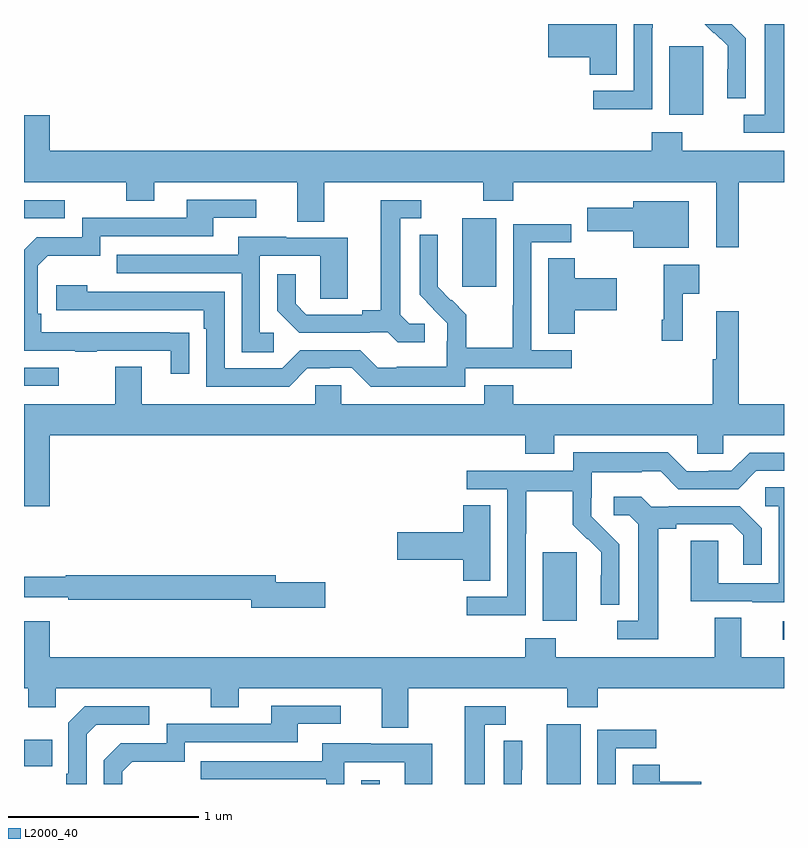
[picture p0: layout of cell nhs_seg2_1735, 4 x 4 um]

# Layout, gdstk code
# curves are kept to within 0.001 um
import gdstk
lib = gdstk.Library(unit=1e-6, precision=1e-09)
def R(c, l, rs):  # rectangles x0, y0, x1, y1
    for r in rs: c.add(gdstk.rectangle(r[:2], r[2:], *l))
def P(c, l, *ps):  # polygons
    for p in ps: c.add(gdstk.Polygon(p, *l))
L2000_40 = (2000, 40)

nhs_seg2_1735 = lib.new_cell('nhs_seg2_1735')
R(nhs_seg2_1735, L2000_40, [(202.776,645.8,202.873,645.82), (203.75,645.8,203.929,646.114), (201,645.893,201.149,646.033), (204.993,646.56,205,646.656), (203.729,646.658,203.908,647.019), (201,647.895,201.184,647.991), (203.306,648.417,203.485,648.778), (201,648.777,201.214,648.873), (204.395,649.322,204.574,649.683)])
P(nhs_seg2_1735, L2000_40, [(204.798,649.726),(204.725,649.799),(204.726,649.8),(204.582,649.8),(204.63,649.752),(204.633,649.755),(204.704,649.685),(204.704,649.562),(204.702,649.562),(204.702,649.408),(204.798,649.408)],
  [(204.306,649.78),(204.309,649.78),(204.309,649.8),(204.21,649.8),(204.21,649.449),(203.997,649.449),(203.997,649.351),(204.306,649.351)],
  [(204.121,649.8),(203.76,649.8),(203.76,649.625),(203.978,649.625),(203.978,649.534),(204.121,649.534)],
  [(205,649.8),(204.899,649.8),(204.899,649.323),(204.789,649.323),(204.789,649.227),(205,649.227)],
  [(204.761,648.968),(205,648.968),(205,649.132),(204.465,649.132),(204.465,649.231),(204.305,649.231),(204.305,649.132),(201.136,649.132),(201.136,649.321),(201,649.321),(201,648.968),(201.538,648.968),(201.538,648.869),(201.685,648.869),(201.685,648.968),(202.439,648.968),(202.439,648.76),(202.579,648.76),(202.579,648.968),(203.416,648.968),(203.416,648.869),(203.576,648.869),(203.576,648.968),(204.644,648.968),(204.644,648.624),(204.761,648.624)],
  [(201.869,648.176),(201.092,648.177),(201.092,648.274),(201.072,648.274),(201.072,648.528),(201.125,648.581),(201.402,648.581),(201.402,648.684),(201.997,648.684),(201.997,648.78),(202.222,648.78),(202.222,648.876),(201.857,648.876),(201.857,648.78),(201.306,648.78),(201.306,648.678),(201.066,648.678),(201,648.612),(201,648.081),(201.271,648.081),(201.271,648.076),(201.383,648.076),(201.383,648.081),(201.773,648.081),(201.773,647.958),(201.869,647.958)],
  [(203.11,648.222),(203.028,648.222),(202.981,648.269),(202.981,648.777),(203.092,648.777),(203.092,648.873),(202.877,648.873),(202.877,648.293),(202.781,648.293),(202.781,648.27),(202.486,648.27),(202.429,648.327),(202.429,648.484),(202.332,648.484),(202.332,648.29),(202.448,648.174),(202.82,648.174),(202.82,648.177),(202.914,648.177),(202.966,648.125),(203.11,648.125)],
  [(204.499,648.868),(204.206,648.868),(204.206,648.832),(203.964,648.832),(203.964,648.71),(204.206,648.71),(204.206,648.623),(204.499,648.623)],
  [(203.322,647.988),(203.884,647.988),(203.884,648.084),(203.67,648.084),(203.67,648.651),(203.879,648.651),(203.879,648.747),(203.574,648.747),(203.574,648.32),(203.572,648.32),(203.572,648.097),(203.327,648.097),(203.327,648.271),(203.25,648.348),(203.247,648.345),(203.177,648.416),(203.178,648.692),(203.082,648.692),(203.082,648.374),(203.228,648.226),(203.228,648.129),(203.226,648.129),(203.226,647.995),(202.963,647.995),(202.963,647.991),(202.863,647.991),(202.77,648.084),(202.455,648.084),(202.359,647.988),(202.056,647.988),(202.056,648.39),(201.332,648.39),(201.332,648.424),(201.171,648.424),(201.171,648.294),(201.947,648.294),(201.947,648.197),(201.96,648.197),(201.96,647.892),(202.395,647.892),(202.491,647.988),(202.61,647.988),(202.61,647.991),(202.725,647.991),(202.825,647.891),(203.322,647.891)],
  [(202.315,648.174),(202.242,648.174),(202.242,648.579),(202.56,648.579),(202.56,648.355),(202.705,648.355),(202.705,648.675),(202.381,648.675),(202.381,648.679),(202.127,648.679),(202.127,648.585),(201.487,648.585),(201.487,648.489),(202.146,648.489),(202.146,648.073),(202.315,648.073)],
  [(203.898,648.293),(204.121,648.293),(204.121,648.463),(203.898,648.463),(203.898,648.566),(203.759,648.566),(203.759,648.169),(203.898,648.169)],
  [(204.467,648.38),(204.553,648.38),(204.553,648.532),(204.367,648.532),(204.367,648.244),(204.357,648.244),(204.357,648.132),(204.467,648.132)],
  [(203.639,647.537),(203.791,647.537),(203.791,647.636),(204.543,647.636),(204.543,647.538),(204.681,647.538),(204.681,647.636),(205,647.636),(205,647.8),(204.761,647.8),(204.761,648.289),(204.644,648.289),(204.644,648.036),(204.625,648.036),(204.625,647.8),(203.576,647.8),(203.576,647.899),(203.423,647.899),(203.423,647.8),(202.671,647.8),(202.671,647.898),(202.533,647.898),(202.533,647.8),(201.619,647.8),(201.619,647.995),(201.479,647.995),(201.479,647.8),(201,647.8),(201,647.262),(201.136,647.262),(201.136,647.636),(203.639,647.636)],
  [(203.64,647.116),(203.643,647.116),(203.643,647.34),(203.887,647.34),(203.887,647.165),(203.964,647.088),(203.967,647.091),(204.038,647.021),(204.038,646.898),(204.036,646.898),(204.036,646.744),(204.132,646.744),(204.132,647.062),(203.986,647.21),(203.986,647.307),(203.988,647.307),(203.988,647.441),(204.251,647.441),(204.251,647.445),(204.351,647.445),(204.444,647.352),(204.759,647.352),(204.855,647.448),(205,647.448),(205,647.544),(204.819,647.544),(204.723,647.448),(204.605,647.448),(204.605,647.445),(204.489,647.445),(204.389,647.545),(203.892,647.545),(203.892,647.448),(203.331,647.448),(203.331,647.352),(203.544,647.352),(203.544,646.785),(203.331,646.785),(203.331,646.687),(203.64,646.687)],
  [(205,647.363),(204.9,647.363),(204.9,647.262),(204.972,647.262),(204.972,646.857),(204.654,646.857),(204.654,647.081),(204.509,647.081),(204.509,646.761),(204.833,646.761),(204.833,646.757),(205,646.757)],
  [(204.337,647.144),(204.433,647.144),(204.433,647.166),(204.728,647.166),(204.785,647.109),(204.785,646.953),(204.882,646.953),(204.882,647.146),(204.766,647.262),(204.394,647.262),(204.394,647.259),(204.3,647.259),(204.248,647.311),(204.105,647.311),(204.105,647.214),(204.186,647.214),(204.233,647.167),(204.233,646.659),(204.123,646.659),(204.123,646.563),(204.337,646.563)],
  [(203.455,647.267),(203.312,647.267),(203.312,647.126),(202.965,647.126),(202.965,646.979),(203.312,646.979),(203.312,646.87),(203.455,646.87)],
  [(202.585,646.862),(202.324,646.862),(202.324,646.898),(201.22,646.898),(201.22,646.891),(201,646.891),(201,646.782),(201.232,646.782),(201.232,646.77),(202.196,646.77),(202.196,646.727),(202.585,646.727)],
  [(201.136,646.657),(201,646.657),(201,646.304),(201.022,646.304),(201.022,646.205),(201.168,646.205),(201.168,646.304),(201.982,646.304),(201.982,646.205),(202.129,646.205),(202.129,646.304),(202.883,646.304),(202.883,646.096),(203.023,646.096),(203.023,646.304),(203.86,646.304),(203.86,646.205),(204.02,646.205),(204.02,646.304),(205,646.304),(205,646.468),(204.775,646.468),(204.775,646.676),(204.635,646.676),(204.635,646.468),(203.799,646.468),(203.799,646.567),(203.639,646.567),(203.639,646.468),(201.136,646.468)],
  [(201.516,645.864),(201.569,645.917),(201.846,645.917),(201.846,646.02),(202.441,646.02),(202.441,646.116),(202.666,646.116),(202.666,646.212),(202.301,646.212),(202.301,646.116),(201.75,646.116),(201.75,646.014),(201.51,646.014),(201.42,645.924),(201.42,645.8),(201.516,645.8)],
  [(203.425,646.113),(203.536,646.113),(203.536,646.209),(203.321,646.209),(203.321,645.8),(203.425,645.8)],
  [(201.33,646.062),(201.381,646.113),(201.658,646.113),(201.658,646.209),(201.321,646.209),(201.234,646.122),(201.234,645.853),(201.222,645.853),(201.222,645.8),(201.33,645.8)],
  [(204.114,645.987),(204.328,645.987),(204.328,646.086),(204.018,646.086),(204.018,645.8),(204.114,645.8)],
  [(203.621,645.874),(203.622,645.874),(203.622,646.028),(203.526,646.028),(203.526,645.8),(203.621,645.8)],
  [(202.686,645.915),(203.004,645.915),(203.004,645.8),(203.149,645.8),(203.149,646.011),(202.825,646.011),(202.825,646.015),(202.571,646.015),(202.571,645.921),(201.931,645.921),(201.931,645.825),(202.59,645.825),(202.59,645.8),(202.686,645.8)],
  [(204.565,645.812),(204.347,645.812),(204.347,645.902),(204.203,645.902),(204.203,645.8),(204.565,645.8)])

lib.write_gds('nhs_seg2_1735.gds')
